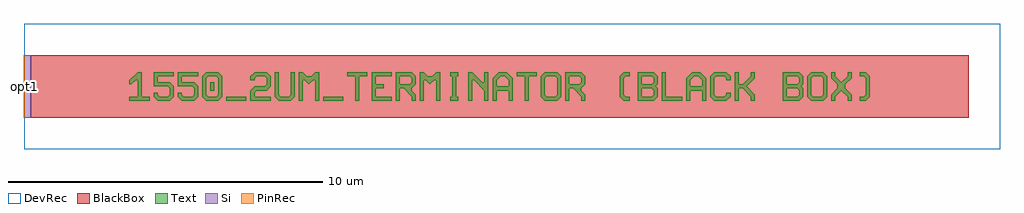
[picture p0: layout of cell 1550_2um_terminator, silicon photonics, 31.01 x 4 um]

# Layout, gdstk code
import gdstk
lib = gdstk.Library(unit=1e-6, precision=1e-09)
def R(c, l, rs):  # rectangles x0, y0, x1, y1
    for r in rs: c.add(gdstk.rectangle(r[:2], r[2:], *l))
def P(c, l, *ps):  # polygons
    for p in ps: c.add(gdstk.Polygon(p, *l))
Si = (1, 0)
PinRec = (1, 10)
Text = (10, 0)
DevRec = (68, 0)
BlackBox = (998, 0)

text = lib.new_cell('TEXT')
R(text, Text, [(3.076,0,3.717,0.128), (6.152,0,6.793,0.128), (2.563,0.32,2.692,0.577)])
P(text, Text, [(0,0),(0,0.128),(0.256,0.128),(0.256,0.641),(0.192,0.641),(0.064,0.513),(0,0.513),(0,0.641),(0.256,0.897),(0.385,0.897),(0.385,0.128),(0.641,0.128),(0.641,0)],
  [(0.897,0),(0.769,0.128),(0.769,0.256),(0.897,0.256),(0.897,0.192),(0.961,0.128),(1.218,0.128),(1.282,0.192),(1.282,0.385),(1.218,0.449),(0.769,0.449),(0.769,0.897),(1.41,0.897),(1.41,0.769),(0.897,0.769),(0.897,0.577),(1.282,0.577),(1.41,0.449),(1.41,0.128),(1.282,0)],
  [(1.666,0),(1.538,0.128),(1.538,0.256),(1.666,0.256),(1.666,0.192),(1.73,0.128),(1.987,0.128),(2.051,0.192),(2.051,0.385),(1.987,0.449),(1.538,0.449),(1.538,0.897),(2.179,0.897),(2.179,0.769),(1.666,0.769),(1.666,0.577),(2.051,0.577),(2.179,0.449),(2.179,0.128),(2.051,0)],
  [(2.435,0),(2.307,0.128),(2.307,0.769),(2.435,0.897),(2.82,0.897),(2.948,0.769),(2.499,0.769),(2.435,0.705),(2.435,0.192),(2.499,0.128),(2.756,0.128),(2.82,0.192),(2.82,0.705),(2.756,0.769),(2.948,0.769),(2.948,0.128),(2.82,0)],
  [(3.845,0),(3.845,0.32),(3.973,0.449),(4.294,0.449),(4.358,0.513),(4.358,0.705),(4.294,0.769),(4.037,0.769),(3.973,0.705),(3.973,0.641),(3.845,0.641),(3.845,0.769),(3.973,0.897),(4.358,0.897),(4.486,0.769),(4.486,0.449),(4.358,0.32),(4.037,0.32),(3.973,0.256),(3.973,0.128),(4.486,0.128),(4.486,0)],
  [(4.742,0),(4.614,0.128),(4.614,0.897),(4.742,0.897),(4.742,0.192),(4.806,0.128),(5.063,0.128),(5.127,0.192),(5.127,0.897),(5.255,0.897),(5.255,0.128),(5.127,0)],
  [(5.383,0),(5.383,0.897),(5.511,0.897),(5.639,0.769),(5.768,0.769),(5.896,0.897),(6.024,0.897),(6.024,0),(5.896,0),(5.896,0.641),(5.832,0.641),(5.703,0.513),(5.575,0.641),(5.511,0.641),(5.511,0)],
  [(7.177,0),(7.177,0.769),(6.921,0.769),(6.921,0.897),(7.562,0.897),(7.562,0.769),(7.306,0.769),(7.306,0)],
  [(7.69,0),(7.69,0.897),(8.331,0.897),(8.331,0.769),(7.818,0.769),(7.818,0.513),(8.075,0.513),(8.075,0.385),(7.818,0.385),(7.818,0.128),(8.331,0.128),(8.331,0)],
  [(8.459,0),(8.459,0.897),(8.972,0.897),(9.1,0.769),(8.587,0.769),(8.587,0.513),(8.908,0.513),(8.972,0.577),(8.972,0.705),(8.908,0.769),(9.1,0.769),(9.1,0.513),(8.972,0.385),(8.972,0.32),(9.1,0.192),(9.1,0),(8.972,0),(8.972,0.128),(8.715,0.385),(8.587,0.385),(8.587,0)],
  [(9.228,0),(9.228,0.897),(9.356,0.897),(9.484,0.769),(9.613,0.769),(9.741,0.897),(9.869,0.897),(9.869,0),(9.741,0),(9.741,0.641),(9.677,0.641),(9.548,0.513),(9.42,0.641),(9.356,0.641),(9.356,0)],
  [(10.189,0),(10.189,0.128),(10.253,0.128),(10.253,0.769),(10.189,0.769),(10.189,0.897),(10.446,0.897),(10.446,0.769),(10.382,0.769),(10.382,0.128),(10.446,0.128),(10.446,0)],
  [(10.766,0),(10.766,0.897),(10.894,0.897),(11.215,0.577),(11.279,0.577),(11.279,0.897),(11.407,0.897),(11.407,0),(11.279,0),(11.279,0.32),(10.958,0.641),(10.894,0.641),(10.894,0)],
  [(11.535,0),(11.535,0.705),(11.727,0.897),(11.984,0.897),(12.112,0.769),(11.791,0.769),(11.663,0.641),(11.663,0.449),(12.048,0.449),(12.048,0.641),(11.92,0.769),(12.112,0.769),(12.176,0.705),(12.176,0),(12.048,0),(12.048,0.32),(11.663,0.32),(11.663,0)],
  [(12.56,0),(12.56,0.769),(12.304,0.769),(12.304,0.897),(12.945,0.897),(12.945,0.769),(12.689,0.769),(12.689,0)],
  [(13.201,0),(13.073,0.128),(13.073,0.769),(13.201,0.897),(13.586,0.897),(13.714,0.769),(13.714,0.449),(13.586,0.449),(13.586,0.705),(13.522,0.769),(13.265,0.769),(13.201,0.705),(13.201,0.192),(13.265,0.128),(13.522,0.128),(13.586,0.192),(13.586,0.449),(13.714,0.449),(13.714,0.128),(13.586,0)],
  [(13.842,0),(13.842,0.897),(14.355,0.897),(14.483,0.769),(13.97,0.769),(13.97,0.513),(14.291,0.513),(14.355,0.577),(14.355,0.705),(14.291,0.769),(14.483,0.769),(14.483,0.513),(14.355,0.385),(14.355,0.32),(14.483,0.192),(14.483,0),(14.355,0),(14.355,0.128),(14.098,0.385),(13.97,0.385),(13.97,0)],
  [(15.7,0),(15.572,0.128),(15.572,0.769),(15.7,0.897),(15.893,0.897),(15.893,0.769),(15.765,0.769),(15.7,0.705),(15.7,0.192),(15.765,0.128),(15.893,0.128),(15.893,0)],
  [(16.149,0),(16.149,0.897),(16.662,0.897),(16.79,0.769),(16.277,0.769),(16.277,0.513),(16.598,0.513),(16.662,0.577),(16.662,0.705),(16.598,0.769),(16.79,0.769),(16.79,0.513),(16.726,0.449),(16.79,0.385),(16.277,0.385),(16.277,0.128),(16.598,0.128),(16.662,0.192),(16.662,0.32),(16.598,0.385),(16.79,0.385),(16.79,0.128),(16.662,0)],
  [(16.918,0),(16.918,0.897),(17.046,0.897),(17.046,0.128),(17.559,0.128),(17.559,0)],
  [(17.687,0),(17.687,0.705),(17.879,0.897),(18.136,0.897),(18.264,0.769),(17.943,0.769),(17.815,0.641),(17.815,0.449),(18.2,0.449),(18.2,0.641),(18.072,0.769),(18.264,0.769),(18.328,0.705),(18.328,0),(18.2,0),(18.2,0.32),(17.815,0.32),(17.815,0)],
  [(18.584,0),(18.456,0.128),(18.456,0.769),(18.584,0.897),(18.969,0.897),(19.097,0.769),(19.097,0.641),(18.969,0.641),(18.969,0.705),(18.905,0.769),(18.648,0.769),(18.584,0.705),(18.584,0.192),(18.648,0.128),(18.905,0.128),(18.969,0.192),(18.969,0.256),(19.097,0.256),(19.097,0.128),(18.969,0)],
  [(19.225,0),(19.225,0.897),(19.353,0.897),(19.353,0.513),(19.481,0.513),(19.738,0.769),(19.738,0.897),(19.866,0.897),(19.866,0.705),(19.61,0.449),(19.866,0.192),(19.866,0),(19.738,0),(19.738,0.128),(19.481,0.385),(19.353,0.385),(19.353,0)],
  [(20.763,0),(20.763,0.897),(21.276,0.897),(21.404,0.769),(20.891,0.769),(20.891,0.513),(21.212,0.513),(21.276,0.577),(21.276,0.705),(21.212,0.769),(21.404,0.769),(21.404,0.513),(21.34,0.449),(21.404,0.385),(20.891,0.385),(20.891,0.128),(21.212,0.128),(21.276,0.192),(21.276,0.32),(21.212,0.385),(21.404,0.385),(21.404,0.128),(21.276,0)],
  [(21.66,0),(21.532,0.128),(21.532,0.769),(21.66,0.897),(22.045,0.897),(22.173,0.769),(22.173,0.449),(22.045,0.449),(22.045,0.705),(21.981,0.769),(21.724,0.769),(21.66,0.705),(21.66,0.192),(21.724,0.128),(21.981,0.128),(22.045,0.192),(22.045,0.449),(22.173,0.449),(22.173,0.128),(22.045,0)],
  [(22.301,0),(22.301,0.192),(22.493,0.385),(22.493,0.513),(22.301,0.705),(22.301,0.897),(22.429,0.897),(22.429,0.769),(22.621,0.577),(22.814,0.769),(22.814,0.897),(22.942,0.897),(22.942,0.705),(22.75,0.513),(22.75,0.385),(22.942,0.192),(22.942,0),(22.814,0),(22.814,0.128),(22.621,0.32),(22.429,0.128),(22.429,0)],
  [(23.198,0),(23.198,0.128),(23.326,0.128),(23.39,0.192),(23.39,0.705),(23.326,0.769),(23.198,0.769),(23.198,0.897),(23.39,0.897),(23.519,0.769),(23.519,0.128),(23.39,0)])

c_1550_2um_terminator = lib.new_cell('1550_2um_terminator')
R(c_1550_2um_terminator, Si, [(-15,-1,-14.8,1)])
R(c_1550_2um_terminator, DevRec, [(-15,-2,16,2)])
R(c_1550_2um_terminator, BlackBox, [(-14.8,-1,15,1)])
c_1550_2um_terminator.add(gdstk.FlexPath([(-14.99,0),(-15.01,0)], 2, ends="flush", simple_path=True, layer=1, datatype=10))  # PinRec
c_1550_2um_terminator.add(gdstk.Reference(text, (-11.659,-0.448)))
c_1550_2um_terminator.add(gdstk.Label('opt1', (-15,0), layer=1, texttype=10))

lib.write_gds('1550_2um_terminator.gds')
